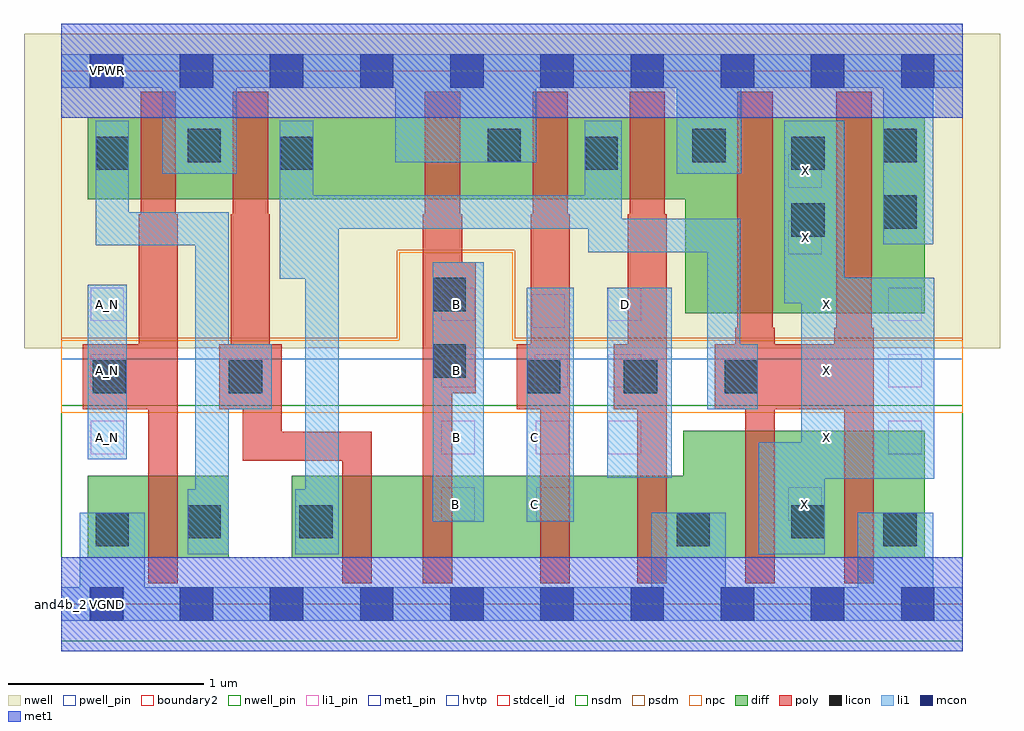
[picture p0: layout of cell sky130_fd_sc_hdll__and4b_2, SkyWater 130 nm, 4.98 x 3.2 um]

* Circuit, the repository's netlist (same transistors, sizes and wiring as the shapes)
* Copyright 2020 The SkyWater PDK Authors
*
* Licensed under the Apache License, Version 2.0 (the "License");
* you may not use this file except in compliance with the License.
* You may obtain a copy of the License at
*
*     https://www.apache.org/licenses/LICENSE-2.0
*
* Unless required by applicable law or agreed to in writing, software
* distributed under the License is distributed on an "AS IS" BASIS,
* WITHOUT WARRANTIES OR CONDITIONS OF ANY KIND, either express or implied.
* See the License for the specific language governing permissions and
* limitations under the License.
*
* SPDX-License-Identifier: Apache-2.0

.SUBCKT sky130_fd_sc_hdll__and4b_2 A_N B C D VGND VNB VPB VPWR X
*.PININFO A_N:I B:I C:I D:I VGND:I VNB:I VPB:I VPWR:I X:O
MMP0 y A VPWR VPB sky130_fd_pr__pfet_01v8_hvt m=1 w=0.42U l=0.18U mult=1 sa=0.265
+ sb=0.265 sd=0.28 area=0.063 perim=1.14
MMP1 y B VPWR VPB sky130_fd_pr__pfet_01v8_hvt m=1 w=0.42U l=0.18U mult=1 sa=0.265
+ sb=0.265 sd=0.28 area=0.063 perim=1.14
MMP2 y C VPWR VPB sky130_fd_pr__pfet_01v8_hvt m=1 w=0.42U l=0.18U mult=1 sa=0.265
+ sb=0.265 sd=0.28 area=0.063 perim=1.14
MMP3 y D VPWR VPB sky130_fd_pr__pfet_01v8_hvt m=1 w=0.42U l=0.18U mult=1 sa=0.265
+ sb=0.265 sd=0.28 area=0.063 perim=1.14
MMIP0 A A_N VPWR VPB sky130_fd_pr__pfet_01v8_hvt m=1 w=0.42U l=0.18U mult=1 sa=0.265
+ sb=0.265 sd=0.28 area=0.063 perim=1.14
MMIP1 X y VPWR VPB sky130_fd_pr__pfet_01v8_hvt m=2 w=1.0U l=0.18U mult=1 sa=0.265
+ sb=0.265 sd=0.28 area=0.063 perim=1.14
MMN0 y A sndA VNB sky130_fd_pr__nfet_01v8 m=1 w=0.42U l=0.15U mult=1 sa=0.265 sb=0.265
+ sd=0.28 area=0.063 perim=1.14
MMN1 sndA B sndB VNB sky130_fd_pr__nfet_01v8 m=1 w=0.42U l=0.15U mult=1 sa=0.265
+ sb=0.265 sd=0.28 area=0.063 perim=1.14
MMN2 sndB C sndC VNB sky130_fd_pr__nfet_01v8 m=1 w=0.42U l=0.15U mult=1 sa=0.265
+ sb=0.265 sd=0.28 area=0.063 perim=1.14
MMN3 sndC D VGND VNB sky130_fd_pr__nfet_01v8 m=1 w=0.42U l=0.15U mult=1 sa=0.265
+ sb=0.265 sd=0.28 area=0.063 perim=1.14
MMIN0 A A_N VGND VNB sky130_fd_pr__nfet_01v8 m=1 w=0.42U l=0.15U mult=1 sa=0.265
+ sb=0.265 sd=0.28 area=0.063 perim=1.14
MMIN1 X y VGND VNB sky130_fd_pr__nfet_01v8 m=2 w=0.65U l=0.15U mult=1 sa=0.265
+ sb=0.265 sd=0.28 area=0.063 perim=1.14
.ENDS sky130_fd_sc_hdll__and4b_2

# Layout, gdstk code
import gdstk
lib = gdstk.Library(unit=1e-6, precision=1e-09)
def R(c, l, rs):  # rectangles x0, y0, x1, y1
    for r in rs: c.add(gdstk.rectangle(r[:2], r[2:], *l))
def A(c, l, x, y, w, h, nx, ny, dx, dy):  # array of equal rectangles
    R(c, l, [(x+i*dx, y+j*dy, x+i*dx+w, y+j*dy+h) for i in range(nx) for j in range(ny)])
def P(c, l, *ps):  # polygons
    for p in ps: c.add(gdstk.Polygon(p, *l))
nwell_pin = (64, 16)
nwell = (64, 20)
diff = (65, 20)
poly = (66, 20)
licon = (66, 44)
li1_pin = (67, 16)
li1 = (67, 20)
mcon = (67, 44)
met1_pin = (68, 16)
met1 = (68, 20)
hvtp = (78, 44)
stdcell_id = (81, 4)
nsdm = (93, 44)
psdm = (94, 20)
npc = (95, 20)
pwell_pin = (122, 16)
boundary2 = (236, 0)

sky130_fd_sc_hdll__and4b = lib.new_cell('sky130_fd_sc_hdll__and4b_2')
R(sky130_fd_sc_hdll__and4b, nwell_pin, [(0.15,2.635,0.32,2.805)])
R(sky130_fd_sc_hdll__and4b, nwell, [(-0.19,1.305,4.79,2.91)])
R(sky130_fd_sc_hdll__and4b, diff, [(0.135,0.235,0.855,0.655)])
P(sky130_fd_sc_hdll__and4b, diff, [(4.405,2.485),(0.135,2.485),(0.135,2.065),(3.185,2.065),(3.185,1.485),(4.405,1.485)],
  [(4.405,0.885),(3.175,0.885),(3.175,0.655),(1.175,0.655),(1.175,0.235),(4.405,0.235)])
P(sky130_fd_sc_hdll__and4b, poly, [(0.595,1.99),(0.585,1.99),(0.585,2.615),(0.405,2.615),(0.405,1.99),(0.395,1.99),(0.395,1.325),(0.11,1.325),(0.11,0.995),(0.445,0.995),(0.445,0.105),(0.595,0.105)],
  [(1.585,0.88),(1.125,0.88),(1.125,1.325),(1.065,1.325),(1.065,1.99),(1.055,1.99),(1.055,2.615),(0.875,2.615),(0.875,1.99),(0.865,1.99),(0.865,1.325),(0.805,1.325),(0.805,0.995),(0.925,0.995),(0.925,0.73),(1.435,0.73),(1.435,0.105),(1.585,0.105)],
  [(2.115,1.745),(2.045,1.745),(2.045,1.99),(2.035,1.99),(2.035,2.615),(1.855,2.615),(1.855,1.99),(1.845,1.99),(1.845,0.105),(1.995,0.105),(1.995,1.075),(2.115,1.075)],
  [(2.595,1.99),(2.585,1.99),(2.585,2.615),(2.405,2.615),(2.405,1.99),(2.395,1.99),(2.395,1.325),(2.325,1.325),(2.325,0.995),(2.445,0.995),(2.445,0.105),(2.595,0.105)],
  [(3.09,1.99),(3.08,1.99),(3.08,2.615),(2.9,2.615),(2.9,1.99),(2.89,1.99),(2.89,1.325),(2.82,1.325),(2.82,0.995),(2.94,0.995),(2.94,0.105),(3.09,0.105)],
  [(4.145,1.41),(4.135,1.41),(4.135,2.615),(3.955,2.615),(3.955,1.41),(3.945,1.41),(3.945,1.325),(3.64,1.325),(3.64,1.41),(3.63,1.41),(3.63,2.615),(3.45,2.615),(3.45,1.41),(3.44,1.41),(3.44,1.325),(3.335,1.325),(3.335,0.995),(3.49,0.995),(3.49,0.105),(3.64,0.105),(3.64,0.995),(3.995,0.995),(3.995,0.105),(4.145,0.105)])
R(sky130_fd_sc_hdll__and4b, licon, [(0.175,0.295,0.345,0.465), (3.14,0.295,3.31,0.465), (4.195,0.295,4.365,0.465), (0.645,0.335,0.815,0.505), (1.215,0.335,1.385,0.505), (3.725,0.335,3.895,0.505), (0.16,1.075,0.33,1.245), (0.855,1.075,1.025,1.245), (2.375,1.075,2.545,1.245), (2.87,1.075,3.04,1.245), (3.385,1.075,3.555,1.245), (1.895,1.155,2.065,1.325), (1.895,1.495,2.065,1.665), (3.725,1.875,3.895,2.045), (4.195,1.915,4.365,2.085), (0.175,2.215,0.345,2.385), (1.115,2.215,1.285,2.385), (2.67,2.215,2.84,2.385), (3.725,2.215,3.895,2.385), (0.645,2.255,0.815,2.425), (2.175,2.255,2.345,2.425), (3.22,2.255,3.39,2.425), (4.195,2.255,4.365,2.425)])
A(sky130_fd_sc_hdll__and4b, li1_pin, 1.94, 0.425, 0.17, 0.17, 1, 4, 0, 0.34)
A(sky130_fd_sc_hdll__and4b, li1_pin, 0.15, 0.765, 0.17, 0.17, 1, 3, 0, 0.34)
A(sky130_fd_sc_hdll__and4b, li1_pin, 2.79, 0.765, 0.17, 0.17, 1, 3, 0, 0.34)
A(sky130_fd_sc_hdll__and4b, li1_pin, 4.22, 0.765, 0.17, 0.17, 1, 3, 0, 0.34)
R(sky130_fd_sc_hdll__and4b, li1_pin, [(2.425,0.425,2.595,0.595), (3.71,0.425,3.88,0.595), (2.42,0.765,2.59,0.935), (2.415,1.105,2.585,1.275), (2.4,1.41,2.57,1.58), (3.71,1.785,3.88,1.955), (3.71,2.125,3.88,2.295)])
R(sky130_fd_sc_hdll__and4b, li1, [(1.895,0.42,2.155,1.745), (2.375,0.42,2.615,1.615), (2.785,0.645,3.115,1.615), (0.135,0.74,0.335,1.63)])
P(sky130_fd_sc_hdll__and4b, li1, [(3.555,1.325),(3.465,1.325),(3.465,1.965),(2.86,1.965),(2.86,2.465),(2.67,2.465),(2.67,2.085),(1.285,2.085),(1.285,2.465),(1.115,2.465),(1.115,1.66),(1.245,1.66),(1.245,0.585),(1.195,0.585),(1.195,0.255),(1.415,0.255),(1.415,1.915),(2.69,1.915),(2.69,1.795),(3.295,1.795),(3.295,0.995),(3.555,0.995)],
  [(4.455,1.665),(3.995,1.665),(3.995,2.465),(3.69,2.465),(3.69,1.535),(3.775,1.535),(3.775,0.825),(3.56,0.825),(3.56,0.255),(3.895,0.255),(3.895,0.64),(4.455,0.64)],
  [(4.6,2.805),(0,2.805),(0,2.635),(0.515,2.635),(0.515,2.195),(0.895,2.195),(0.895,2.635),(1.705,2.635),(1.705,2.255),(2.425,2.255),(2.425,2.635),(3.14,2.635),(3.14,2.195),(3.47,2.195),(3.47,2.635),(4.195,2.635),(4.195,1.835),(4.45,1.835),(4.45,2.635),(4.6,2.635)],
  [(1.075,1.325),(0.855,1.325),(0.855,2),(0.345,2),(0.345,2.465),(0.175,2.465),(0.175,1.83),(0.685,1.83),(0.685,0.585),(0.645,0.585),(0.645,0.255),(0.855,0.255),(0.855,0.995),(1.075,0.995)],
  [(4.6,0.085),(4.45,0.085),(4.45,0.465),(4.065,0.465),(4.065,0.085),(3.39,0.085),(3.39,0.465),(3.01,0.465),(3.01,0.085),(0.425,0.085),(0.425,0.465),(0.095,0.465),(0.095,0.085),(0,0.085),(0,-0.085),(4.6,-0.085)])
A(sky130_fd_sc_hdll__and4b, mcon, 0.145, -0.085, 0.17, 0.17, 10, 2, 0.46, 2.72)
R(sky130_fd_sc_hdll__and4b, met1_pin, [(0.15,-0.085,0.32,0.085), (0.15,2.635,0.32,2.805)])
R(sky130_fd_sc_hdll__and4b, met1, [(0,-0.24,4.6,0.24), (0,2.48,4.6,2.96)])
R(sky130_fd_sc_hdll__and4b, hvtp, [(0,1.25,4.6,2.72)])
R(sky130_fd_sc_hdll__and4b, stdcell_id, [(0,0,4.6,2.72)])
R(sky130_fd_sc_hdll__and4b, nsdm, [(0,-0.19,4.6,1.015)])
P(sky130_fd_sc_hdll__and4b, psdm, [(4.6,2.91),(0,2.91),(0,1.355),(1.715,1.355),(1.715,1.805),(2.315,1.805),(2.315,1.355),(4.6,1.355)])
P(sky130_fd_sc_hdll__and4b, npc, [(4.6,1.345),(2.305,1.345),(2.305,1.795),(1.725,1.795),(1.725,1.345),(0,1.345),(0,0.975),(4.6,0.975)])
R(sky130_fd_sc_hdll__and4b, pwell_pin, [(0.15,-0.085,0.32,0.085)])
R(sky130_fd_sc_hdll__and4b, boundary2, [(0,0,4.6,2.72)])
sky130_fd_sc_hdll__and4b.add(gdstk.Label('VPWR', (0.235,2.72), layer=68, texttype=5))
sky130_fd_sc_hdll__and4b.add(gdstk.Label('VGND', (0.235,0), layer=68, texttype=5))
sky130_fd_sc_hdll__and4b.add(gdstk.Label('X', (3.905,0.85), layer=67, texttype=5))
sky130_fd_sc_hdll__and4b.add(gdstk.Label('X', (3.905,1.19), layer=67, texttype=5))
sky130_fd_sc_hdll__and4b.add(gdstk.Label('X', (3.905,1.53), layer=67, texttype=5))
sky130_fd_sc_hdll__and4b.add(gdstk.Label('A_N', (0.235,1.53), layer=67, texttype=5))
sky130_fd_sc_hdll__and4b.add(gdstk.Label('X', (3.795,0.51), layer=67, texttype=5))
sky130_fd_sc_hdll__and4b.add(gdstk.Label('X', (3.8,1.87), layer=67, texttype=5))
sky130_fd_sc_hdll__and4b.add(gdstk.Label('X', (3.8,2.21), layer=67, texttype=5))
sky130_fd_sc_hdll__and4b.add(gdstk.Label('A_N', (0.235,1.19), layer=67, texttype=5))
sky130_fd_sc_hdll__and4b.add(gdstk.Label('D', (2.88,1.53), layer=67, texttype=5))
sky130_fd_sc_hdll__and4b.add(gdstk.Label('C', (2.415,0.51), layer=67, texttype=5))
sky130_fd_sc_hdll__and4b.add(gdstk.Label('C', (2.415,0.85), layer=67, texttype=5))
sky130_fd_sc_hdll__and4b.add(gdstk.Label('B', (2.01,0.51), layer=67, texttype=5))
sky130_fd_sc_hdll__and4b.add(gdstk.Label('B', (2.015,0.85), layer=67, texttype=5))
sky130_fd_sc_hdll__and4b.add(gdstk.Label('B', (2.015,1.19), layer=67, texttype=5))
sky130_fd_sc_hdll__and4b.add(gdstk.Label('B', (2.015,1.53), layer=67, texttype=5))
sky130_fd_sc_hdll__and4b.add(gdstk.Label('A_N', (0.235,0.85), layer=67, texttype=5))
sky130_fd_sc_hdll__and4b.add(gdstk.Label('VNB', (0.235,0), layer=64, texttype=59))
sky130_fd_sc_hdll__and4b.add(gdstk.Label('VPB', (0.235,2.72), layer=64, texttype=5))
sky130_fd_sc_hdll__and4b.add(gdstk.Label('and4b_2', (0,0), layer=83, texttype=44))

lib.write_gds('sky130_fd_sc_hdll__and4b_2.gds')
